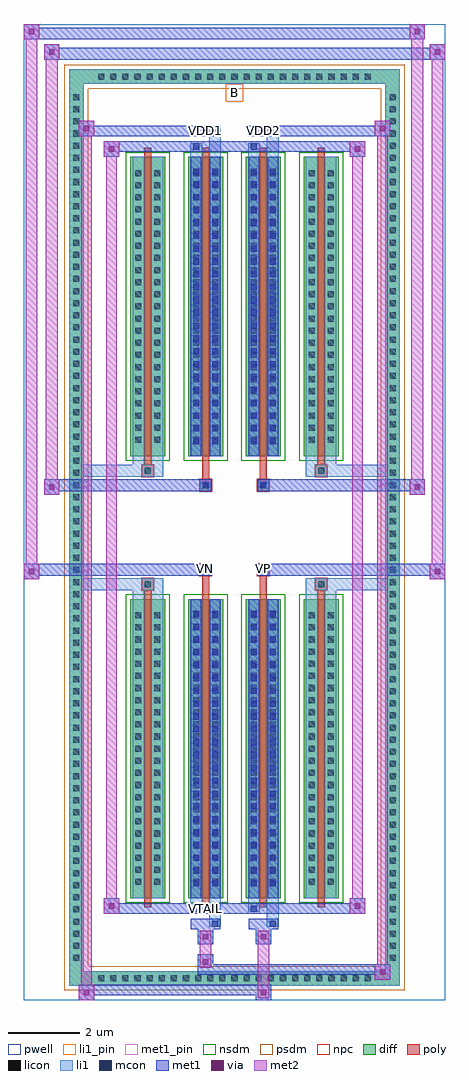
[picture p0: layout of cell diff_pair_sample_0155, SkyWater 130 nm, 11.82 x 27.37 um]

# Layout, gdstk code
import gdstk
lib = gdstk.Library(unit=1e-6, precision=5e-09)
def R(c, l, rs):  # rectangles x0, y0, x1, y1
    for r in rs: c.add(gdstk.rectangle(r[:2], r[2:], *l))
def A(c, l, x, y, w, h, nx, ny, dx, dy):  # array of equal rectangles
    R(c, l, [(x+i*dx, y+j*dy, x+i*dx+w, y+j*dy+h) for i in range(nx) for j in range(ny)])
def P(c, l, *ps):  # polygons
    for p in ps: c.add(gdstk.Polygon(p, *l))
pwell = (64, 44)
diff = (65, 20)
poly = (66, 20)
licon = (66, 44)
li1_pin = (67, 16)
li1 = (67, 20)
mcon = (67, 44)
met1_pin = (68, 16)
met1 = (68, 20)
via = (68, 44)
met2 = (69, 20)
nsdm = (93, 44)
psdm = (94, 20)
npc = (95, 20)

diff_pair_sample_0155 = lib.new_cell('diff_pair_sample_0155')
R(diff_pair_sample_0155, pwell, [(-5.91,-13.25,5.91,14.12), (-3.23,-11.44,-0.01,-0.82), (0.01,-11.44,3.23,-0.82), (-3.23,0.82,-0.01,11.44), (0.01,0.82,3.23,11.44)])
A(diff_pair_sample_0155, diff, -3.945, -12.85, 0.41, 0.41, 23, 2, 0.34, 25.29)
A(diff_pair_sample_0155, diff, -4.64, -12.275, 0.41, 0.41, 1, 72, 0, 0.34)
A(diff_pair_sample_0155, diff, 4.23, -12.275, 0.41, 0.41, 1, 72, 0, 0.34)
A(diff_pair_sample_0155, diff, -2.92, -10.395, 0.98, 8.39, 4, 2, 1.62, 12.4)
R(diff_pair_sample_0155, diff, [(-3.945,-12.85,3.945,-12.44), (-4.64,-12.275,-4.23,12.275), (4.23,-12.275,4.64,12.275), (-3.945,12.44,3.945,12.85)])
P(diff_pair_sample_0155, diff, [(4.64,12.85),(-4.64,12.85),(-4.64,-12.44),(-4.23,-12.44),(-4.23,12.44),(4.23,12.44),(4.23,-12.44),(-4.23,-12.44),(-4.64,-12.44),(-4.64,-12.85),(4.64,-12.85)])
A(diff_pair_sample_0155, poly, -2.53, -10.645, 0.2, 8.89, 4, 2, 1.62, 12.4)
R(diff_pair_sample_0155, poly, [(-2.595,-1.755,-2.265,-1.425), (-2.595,-1.755,-2.265,-1.425), (-0.91,-1.755,-0.71,-1.35), (0.71,-1.755,0.91,-1.35), (2.265,-1.755,2.595,-1.425), (2.265,-1.755,2.595,-1.425), (-0.975,-1.35,-0.645,-1.02), (-0.975,-1.35,-0.645,-1.02), (0.645,-1.35,0.975,-1.02), (0.645,-1.35,0.975,-1.02), (-0.975,1.02,-0.645,1.35), (-0.975,1.02,-0.645,1.35), (0.645,1.02,0.975,1.35), (0.645,1.02,0.975,1.35), (-0.91,1.35,-0.71,1.755), (0.71,1.35,0.91,1.755), (-2.595,1.425,-2.265,1.755), (-2.595,1.425,-2.265,1.755), (2.265,1.425,2.595,1.755), (2.265,1.425,2.595,1.755)])
A(diff_pair_sample_0155, licon, -3.825, -12.73, 0.17, 0.17, 23, 2, 0.34, 25.29)
A(diff_pair_sample_0155, licon, -4.52, -12.155, 0.17, 0.17, 1, 72, 0, 0.34)
A(diff_pair_sample_0155, licon, 4.35, -12.155, 0.17, 0.17, 1, 72, 0, 0.34)
A(diff_pair_sample_0155, licon, -2.78, -10.025, 0.17, 0.17, 1, 23, 0, 0.34)
A(diff_pair_sample_0155, licon, -2.25, -10.025, 0.17, 0.17, 1, 23, 0, 0.34)
A(diff_pair_sample_0155, licon, -1.16, -10.025, 0.17, 0.17, 1, 23, 0, 0.34)
A(diff_pair_sample_0155, licon, -0.63, -10.025, 0.17, 0.17, 1, 23, 0, 0.34)
A(diff_pair_sample_0155, licon, 0.46, -10.025, 0.17, 0.17, 1, 23, 0, 0.34)
A(diff_pair_sample_0155, licon, 0.99, -10.025, 0.17, 0.17, 1, 23, 0, 0.34)
A(diff_pair_sample_0155, licon, 2.08, -10.025, 0.17, 0.17, 1, 23, 0, 0.34)
A(diff_pair_sample_0155, licon, 2.61, -10.025, 0.17, 0.17, 1, 23, 0, 0.34)
A(diff_pair_sample_0155, licon, -2.78, 2.375, 0.17, 0.17, 1, 23, 0, 0.34)
A(diff_pair_sample_0155, licon, -2.25, 2.375, 0.17, 0.17, 1, 23, 0, 0.34)
A(diff_pair_sample_0155, licon, -1.16, 2.375, 0.17, 0.17, 1, 23, 0, 0.34)
A(diff_pair_sample_0155, licon, -0.63, 2.375, 0.17, 0.17, 1, 23, 0, 0.34)
A(diff_pair_sample_0155, licon, 0.46, 2.375, 0.17, 0.17, 1, 23, 0, 0.34)
A(diff_pair_sample_0155, licon, 0.99, 2.375, 0.17, 0.17, 1, 23, 0, 0.34)
A(diff_pair_sample_0155, licon, 2.08, 2.375, 0.17, 0.17, 1, 23, 0, 0.34)
A(diff_pair_sample_0155, licon, 2.61, 2.375, 0.17, 0.17, 1, 23, 0, 0.34)
R(diff_pair_sample_0155, licon, [(-2.515,-1.675,-2.345,-1.505), (2.345,-1.675,2.515,-1.505), (-0.895,-1.27,-0.725,-1.1), (0.725,-1.27,0.895,-1.1), (-0.895,1.1,-0.725,1.27), (0.725,1.1,0.895,1.27), (-2.515,1.505,-2.345,1.675), (2.345,1.505,2.515,1.675)])
R(diff_pair_sample_0155, li1_pin, [(-0.25,11.94,0.25,12.44)])
A(diff_pair_sample_0155, li1, -3.905, -12.81, 0.33, 0.33, 23, 2, 0.34, 25.29)
A(diff_pair_sample_0155, li1, -4.6, -12.235, 0.33, 0.33, 1, 72, 0, 0.34)
A(diff_pair_sample_0155, li1, 4.27, -12.235, 0.33, 0.33, 1, 72, 0, 0.34)
A(diff_pair_sample_0155, li1, -2.86, -10.105, 0.33, 0.33, 1, 23, 0, 0.34)
A(diff_pair_sample_0155, li1, -2.33, -10.105, 0.33, 0.33, 1, 23, 0, 0.34)
A(diff_pair_sample_0155, li1, -1.24, -10.105, 0.33, 0.33, 1, 23, 0, 0.34)
A(diff_pair_sample_0155, li1, -0.71, -10.105, 0.33, 0.33, 1, 23, 0, 0.34)
A(diff_pair_sample_0155, li1, 0.38, -10.105, 0.33, 0.33, 1, 23, 0, 0.34)
A(diff_pair_sample_0155, li1, 0.91, -10.105, 0.33, 0.33, 1, 23, 0, 0.34)
A(diff_pair_sample_0155, li1, 2, -10.105, 0.33, 0.33, 1, 23, 0, 0.34)
A(diff_pair_sample_0155, li1, 2.53, -10.105, 0.33, 0.33, 1, 23, 0, 0.34)
A(diff_pair_sample_0155, li1, -1.16, -10.065, 0.17, 0.17, 1, 22, 0, 0.36)
A(diff_pair_sample_0155, li1, -0.63, -10.065, 0.17, 0.17, 1, 22, 0, 0.36)
A(diff_pair_sample_0155, li1, 0.46, -10.065, 0.17, 0.17, 1, 22, 0, 0.36)
A(diff_pair_sample_0155, li1, 0.99, -10.065, 0.17, 0.17, 1, 22, 0, 0.36)
A(diff_pair_sample_0155, li1, -2.86, 2.295, 0.33, 0.33, 1, 23, 0, 0.34)
A(diff_pair_sample_0155, li1, -2.33, 2.295, 0.33, 0.33, 1, 23, 0, 0.34)
A(diff_pair_sample_0155, li1, -1.24, 2.295, 0.33, 0.33, 1, 23, 0, 0.34)
A(diff_pair_sample_0155, li1, -0.71, 2.295, 0.33, 0.33, 1, 23, 0, 0.34)
A(diff_pair_sample_0155, li1, 0.38, 2.295, 0.33, 0.33, 1, 23, 0, 0.34)
A(diff_pair_sample_0155, li1, 0.91, 2.295, 0.33, 0.33, 1, 23, 0, 0.34)
A(diff_pair_sample_0155, li1, 2, 2.295, 0.33, 0.33, 1, 23, 0, 0.34)
A(diff_pair_sample_0155, li1, 2.53, 2.295, 0.33, 0.33, 1, 23, 0, 0.34)
A(diff_pair_sample_0155, li1, -1.16, 2.335, 0.17, 0.17, 1, 22, 0, 0.36)
A(diff_pair_sample_0155, li1, -0.63, 2.335, 0.17, 0.17, 1, 22, 0, 0.36)
A(diff_pair_sample_0155, li1, 0.46, 2.335, 0.17, 0.17, 1, 22, 0, 0.36)
A(diff_pair_sample_0155, li1, 0.99, 2.335, 0.17, 0.17, 1, 22, 0, 0.36)
R(diff_pair_sample_0155, li1, [(-4.64,-12.85,-4.23,-12.44), (-4.64,-12.85,-4.23,-12.44), (-4.23,-12.85,4.23,-12.44), (4.23,-12.85,4.64,-12.44), (4.23,-12.85,4.64,-12.44), (-4.64,-12.44,-4.23,12.44), (4.23,-12.44,4.64,12.44), (-0.71,-11.2,-0.38,-10.395), (-0.63,-11.2,-0.46,-11.03), (0.91,-11.2,1.24,-10.395), (0.99,-11.2,1.16,-11.03), (-1.24,-10.77,-0.91,-10.395), (-1.16,-10.77,-0.99,-10.6), (0.38,-10.77,0.71,-10.395), (0.46,-10.77,0.63,-10.6), (-2.86,-10.395,-2.53,-2.005), (-2.33,-10.395,-2,-2.005), (-1.24,-10.395,-0.91,-2.005), (-0.71,-10.395,-0.38,-2.005), (0.38,-10.395,0.71,-2.005), (0.91,-10.395,1.24,-2.005), (2,-10.395,2.33,-2.005), (2.53,-10.395,2.86,-2.005), (-1.16,-10.065,-0.99,-2.335), (-0.63,-10.065,-0.46,-2.335), (0.46,-10.065,0.63,-2.335), (0.99,-10.065,1.16,-2.335), (-2.86,-2.005,-2.53,-1.425), (-2.33,-2.005,-2,-1.425), (2,-2.005,2.33,-1.425), (2.53,-2.005,2.86,-1.425), (-4.64,-1.755,-2.595,-1.425), (-2.86,-1.755,-2.595,-1.425), (-2.595,-1.755,-2.265,-1.425), (-2.265,-1.755,-2,-1.425), (2,-1.755,2.265,-1.425), (2.265,-1.755,2.595,-1.425), (2.265,-1.755,4.64,-1.425), (2.595,-1.755,2.86,-1.425), (-0.975,-1.35,-0.645,-1.02), (0.645,-1.35,0.975,-1.02), (-0.975,1.02,-0.645,1.35), (0.645,1.02,0.975,1.35), (-4.64,1.425,-2.595,1.755), (-2.86,1.425,-2.595,1.755), (-2.86,1.425,-2.53,2.005), (-2.595,1.425,-2.265,1.755), (-2.33,1.425,-2,2.005), (-2.265,1.425,-2,1.755), (2,1.425,2.265,1.755), (2,1.425,2.33,2.005), (2.265,1.425,2.595,1.755), (2.265,1.425,4.64,1.755), (2.53,1.425,2.86,2.005), (2.595,1.425,2.86,1.755), (-2.86,2.005,-2.53,10.395), (-2.33,2.005,-2,10.395), (-1.24,2.005,-0.91,10.395), (-0.71,2.005,-0.38,10.395), (0.38,2.005,0.71,10.395), (0.91,2.005,1.24,10.395), (2,2.005,2.33,10.395), (2.53,2.005,2.86,10.395), (-1.16,2.335,-0.99,10.065), (-0.63,2.335,-0.46,10.065), (0.46,2.335,0.63,10.065), (0.99,2.335,1.16,10.065), (-1.24,10.395,-0.91,10.77), (-0.71,10.395,-0.38,11.2), (0.38,10.395,0.71,10.77), (0.91,10.395,1.24,11.2), (-1.16,10.6,-0.99,10.77), (0.46,10.6,0.63,10.77), (-0.63,11.03,-0.46,11.2), (0.99,11.03,1.16,11.2), (-4.64,12.44,-4.23,12.85), (-4.64,12.44,-4.23,12.85), (-4.23,12.44,4.23,12.85), (4.23,12.44,4.64,12.85), (4.23,12.44,4.64,12.85)])
A(diff_pair_sample_0155, mcon, -1.16, -10.065, 0.17, 0.17, 1, 22, 0, 0.36)
A(diff_pair_sample_0155, mcon, -0.63, -10.065, 0.17, 0.17, 1, 22, 0, 0.36)
A(diff_pair_sample_0155, mcon, 0.46, -10.065, 0.17, 0.17, 1, 22, 0, 0.36)
A(diff_pair_sample_0155, mcon, 0.99, -10.065, 0.17, 0.17, 1, 22, 0, 0.36)
A(diff_pair_sample_0155, mcon, -1.16, 2.335, 0.17, 0.17, 1, 22, 0, 0.36)
A(diff_pair_sample_0155, mcon, -0.63, 2.335, 0.17, 0.17, 1, 22, 0, 0.36)
A(diff_pair_sample_0155, mcon, 0.46, 2.335, 0.17, 0.17, 1, 22, 0, 0.36)
A(diff_pair_sample_0155, mcon, 0.99, 2.335, 0.17, 0.17, 1, 22, 0, 0.36)
R(diff_pair_sample_0155, mcon, [(-0.63,-11.2,-0.46,-11.03), (0.99,-11.2,1.16,-11.03), (-1.16,-10.77,-0.99,-10.6), (0.46,-10.77,0.63,-10.6), (-0.895,-1.27,-0.725,-1.1), (0.725,-1.27,0.895,-1.1), (-0.895,1.1,-0.725,1.27), (0.725,1.1,0.895,1.27), (-1.16,10.6,-0.99,10.77), (0.46,10.6,0.63,10.77), (-0.63,11.03,-0.46,11.2), (0.99,11.03,1.16,11.2)])
R(diff_pair_sample_0155, met1_pin, [(-0.945,-10.81,-0.675,-10.54), (-0.945,-1.29,-0.675,-1.02), (0.675,-1.29,0.945,-1.02), (-0.945,10.99,-0.675,11.26), (0.675,10.99,0.945,11.26)])
A(diff_pair_sample_0155, met1, -1.22, -10.125, 0.29, 0.29, 1, 22, 0, 0.36)
A(diff_pair_sample_0155, met1, -0.69, -10.125, 0.29, 0.29, 1, 22, 0, 0.36)
A(diff_pair_sample_0155, met1, 0.4, -10.125, 0.29, 0.29, 1, 22, 0, 0.36)
A(diff_pair_sample_0155, met1, 0.93, -10.125, 0.29, 0.29, 1, 22, 0, 0.36)
A(diff_pair_sample_0155, met1, -1.22, 2.275, 0.29, 0.29, 1, 22, 0, 0.36)
A(diff_pair_sample_0155, met1, -0.69, 2.275, 0.29, 0.29, 1, 22, 0, 0.36)
A(diff_pair_sample_0155, met1, 0.4, 2.275, 0.29, 0.29, 1, 22, 0, 0.36)
A(diff_pair_sample_0155, met1, 0.93, 2.275, 0.29, 0.29, 1, 22, 0, 0.36)
R(diff_pair_sample_0155, met1, [(-4.37,-13.25,-3.94,-12.82), (0.595,-13.25,1.025,-12.82), (-4.37,-13.11,1.025,-12.82), (3.94,-12.68,4.37,-12.25), (-1.025,-12.54,4.37,-12.25), (-1.025,-12.4,-0.595,-11.97), (-1.025,-11.69,-0.595,-11.26), (0.595,-11.69,1.025,-11.26), (-1.22,-11.26,-0.4,-10.97), (-0.69,-11.26,-0.4,-10.97), (0.4,-11.26,1.22,-10.97), (0.93,-11.26,1.22,-10.97), (-3.66,-10.83,-3.23,-10.4), (-3.66,-10.83,-1.22,-10.54), (-1.22,-10.83,-0.93,-10.54), (-1.22,-10.83,-0.4,-10.54), (-0.4,-10.83,0.4,-10.54), (0.4,-10.83,0.69,-10.54), (0.4,-10.83,1.22,-10.54), (1.22,-10.83,3.66,-10.54), (3.23,-10.83,3.66,-10.4), (-1.22,-10.395,-0.93,-2.005), (-0.69,-10.395,-0.4,-2.005), (0.4,-10.395,0.69,-2.005), (0.93,-10.395,1.22,-2.005), (-5.91,-1.45,-5.48,-1.02), (5.48,-1.45,5.91,-1.02), (-5.91,-1.35,-0.645,-1.02), (-0.975,-1.35,-0.645,-1.02), (0.645,-1.35,0.975,-1.02), (0.645,-1.35,5.91,-1.02), (-0.955,-1.33,-0.665,-1.04), (0.665,-1.33,0.955,-1.04), (-5.34,0.92,-4.91,1.35), (4.91,0.92,5.34,1.35), (-5.34,1.02,-0.975,1.35), (-0.975,1.02,-0.645,1.35), (0.645,1.02,0.975,1.35), (0.975,1.02,5.34,1.35), (-0.955,1.04,-0.665,1.33), (0.665,1.04,0.955,1.33), (-1.22,2.005,-0.93,10.395), (-0.69,2.005,-0.4,10.395), (0.4,2.005,0.69,10.395), (0.93,2.005,1.22,10.395), (-3.66,10.4,-3.23,10.83), (3.23,10.4,3.66,10.83), (-3.66,10.54,-1.22,10.83), (-1.22,10.54,-0.93,10.83), (-1.22,10.54,-0.4,10.83), (-0.4,10.54,0.4,10.83), (0.4,10.54,0.69,10.83), (0.4,10.54,1.22,10.83), (1.22,10.54,3.66,10.83), (-4.37,10.97,-3.94,11.4), (-4.37,10.97,-1.22,11.26), (-1.22,10.97,-0.4,11.26), (-0.69,10.97,-0.4,11.26), (0.4,10.97,1.22,11.26), (0.93,10.97,1.22,11.26), (1.22,10.97,4.37,11.26), (3.94,10.97,4.37,11.4), (-5.34,13.12,-4.91,13.55), (-5.34,13.12,-3.23,13.45), (-3.23,13.12,3.23,13.45), (3.23,13.12,5.91,13.45), (5.48,13.12,5.91,13.55), (-5.91,13.69,-5.48,14.12), (-5.91,13.69,-3.23,14.02), (-3.23,13.69,3.23,14.02), (3.23,13.69,5.34,14.02), (4.91,13.69,5.34,14.12)])
R(diff_pair_sample_0155, via, [(-4.23,-13.11,-4.08,-12.96), (0.735,-13.11,0.885,-12.96), (4.08,-12.54,4.23,-12.39), (-0.885,-12.26,-0.735,-12.11), (-0.885,-11.55,-0.735,-11.4), (0.735,-11.55,0.885,-11.4), (-3.52,-10.69,-3.37,-10.54), (3.37,-10.69,3.52,-10.54), (-5.77,-1.31,-5.62,-1.16), (5.62,-1.31,5.77,-1.16), (-5.2,1.06,-5.05,1.21), (5.05,1.06,5.2,1.21), (-3.52,10.54,-3.37,10.69), (3.37,10.54,3.52,10.69), (-4.23,11.11,-4.08,11.26), (4.08,11.11,4.23,11.26), (-5.2,13.26,-5.05,13.41), (5.62,13.26,5.77,13.41), (-5.77,13.83,-5.62,13.98), (5.05,13.83,5.2,13.98)])
R(diff_pair_sample_0155, met2, [(-4.37,-13.25,-3.94,-12.82), (-4.3,-13.25,-4.01,11.4), (-4.01,-13.25,-3.94,-12.82), (-4.32,-13.2,-3.99,-12.87), (0.645,-13.2,0.975,-12.87), (0.645,-12.87,0.975,-11.64), (3.94,-12.68,4.37,-12.25), (4.01,-12.68,4.3,11.4), (4.3,-12.68,4.37,-12.25), (3.99,-12.63,4.32,-12.3), (-0.975,-12.35,-0.645,-12.02), (-0.975,-12.02,-0.645,-11.64), (-0.975,-11.64,-0.645,-11.31), (0.645,-11.64,0.975,-11.31), (-3.66,-10.83,-3.23,-10.4), (-3.59,-10.83,-3.3,10.83), (-3.3,-10.83,-3.23,-10.4), (3.23,-10.83,3.66,-10.4), (3.3,-10.83,3.59,10.83), (3.59,-10.83,3.66,-10.4), (-3.61,-10.78,-3.28,-10.45), (3.28,-10.78,3.61,-10.45), (-5.91,-1.45,-5.48,-1.02), (-5.86,-1.45,-5.53,14.12), (-5.53,-1.45,-5.48,-1.02), (5.48,-1.45,5.91,-1.02), (5.53,-1.45,5.86,13.55), (5.86,-1.45,5.91,-1.02), (-5.86,-1.4,-5.53,-1.07), (5.53,-1.4,5.86,-1.07), (-5.34,0.92,-4.91,1.35), (-5.29,0.92,-4.96,13.55), (-4.96,0.92,-4.91,1.35), (4.91,0.92,5.34,1.35), (4.96,0.92,5.29,14.12), (5.29,0.92,5.34,1.35), (-5.29,0.97,-4.96,1.3), (4.96,0.97,5.29,1.3), (-3.66,10.4,-3.23,10.83), (-3.3,10.4,-3.23,10.83), (3.23,10.4,3.66,10.83), (3.59,10.4,3.66,10.83), (-3.61,10.45,-3.28,10.78), (3.28,10.45,3.61,10.78), (-4.37,10.97,-3.94,11.4), (-4.01,10.97,-3.94,11.4), (3.94,10.97,4.37,11.4), (4.3,10.97,4.37,11.4), (-4.32,11.02,-3.99,11.35), (3.99,11.02,4.32,11.35), (-5.34,13.12,-4.91,13.55), (-4.96,13.12,-4.91,13.55), (5.48,13.12,5.91,13.55), (5.86,13.12,5.91,13.55), (-5.29,13.17,-4.96,13.5), (5.53,13.17,5.86,13.5), (-5.91,13.69,-5.48,14.12), (-5.53,13.69,-5.48,14.12), (4.91,13.69,5.34,14.12), (5.29,13.69,5.34,14.12), (-5.86,13.74,-5.53,14.07), (4.96,13.74,5.29,14.07)])
A(diff_pair_sample_0155, nsdm, -3.05, -10.525, 1.24, 8.65, 4, 2, 1.62, 12.4)
P(diff_pair_sample_0155, psdm, [(4.77,12.98),(-4.77,12.98),(-4.77,-12.31),(-4.1,-12.31),(-4.1,12.31),(4.1,12.31),(4.1,-12.31),(-4.1,-12.31),(-4.77,-12.31),(-4.77,-12.98),(4.77,-12.98)])
R(diff_pair_sample_0155, npc, [(-2.615,-1.775,-2.245,-1.405), (2.245,-1.775,2.615,-1.405), (-0.995,-1.37,-0.625,-1), (0.625,-1.37,0.995,-1), (-0.995,1,-0.625,1.37), (0.625,1,0.995,1.37), (-2.615,1.405,-2.245,1.775), (2.245,1.405,2.615,1.775)])
diff_pair_sample_0155.add(gdstk.Label('VTAIL', (-0.81,-10.675), layer=68, texttype=5))
diff_pair_sample_0155.add(gdstk.Label('VN', (-0.81,-1.155), layer=68, texttype=5))
diff_pair_sample_0155.add(gdstk.Label('VP', (0.81,-1.155), layer=68, texttype=5))
diff_pair_sample_0155.add(gdstk.Label('B', (0,12.19), layer=67, texttype=5))
diff_pair_sample_0155.add(gdstk.Label('VDD2', (0.81,11.125), layer=68, texttype=5))
diff_pair_sample_0155.add(gdstk.Label('VDD1', (-0.81,11.125), layer=68, texttype=5))

lib.write_gds('diff_pair_sample_0155.gds')
